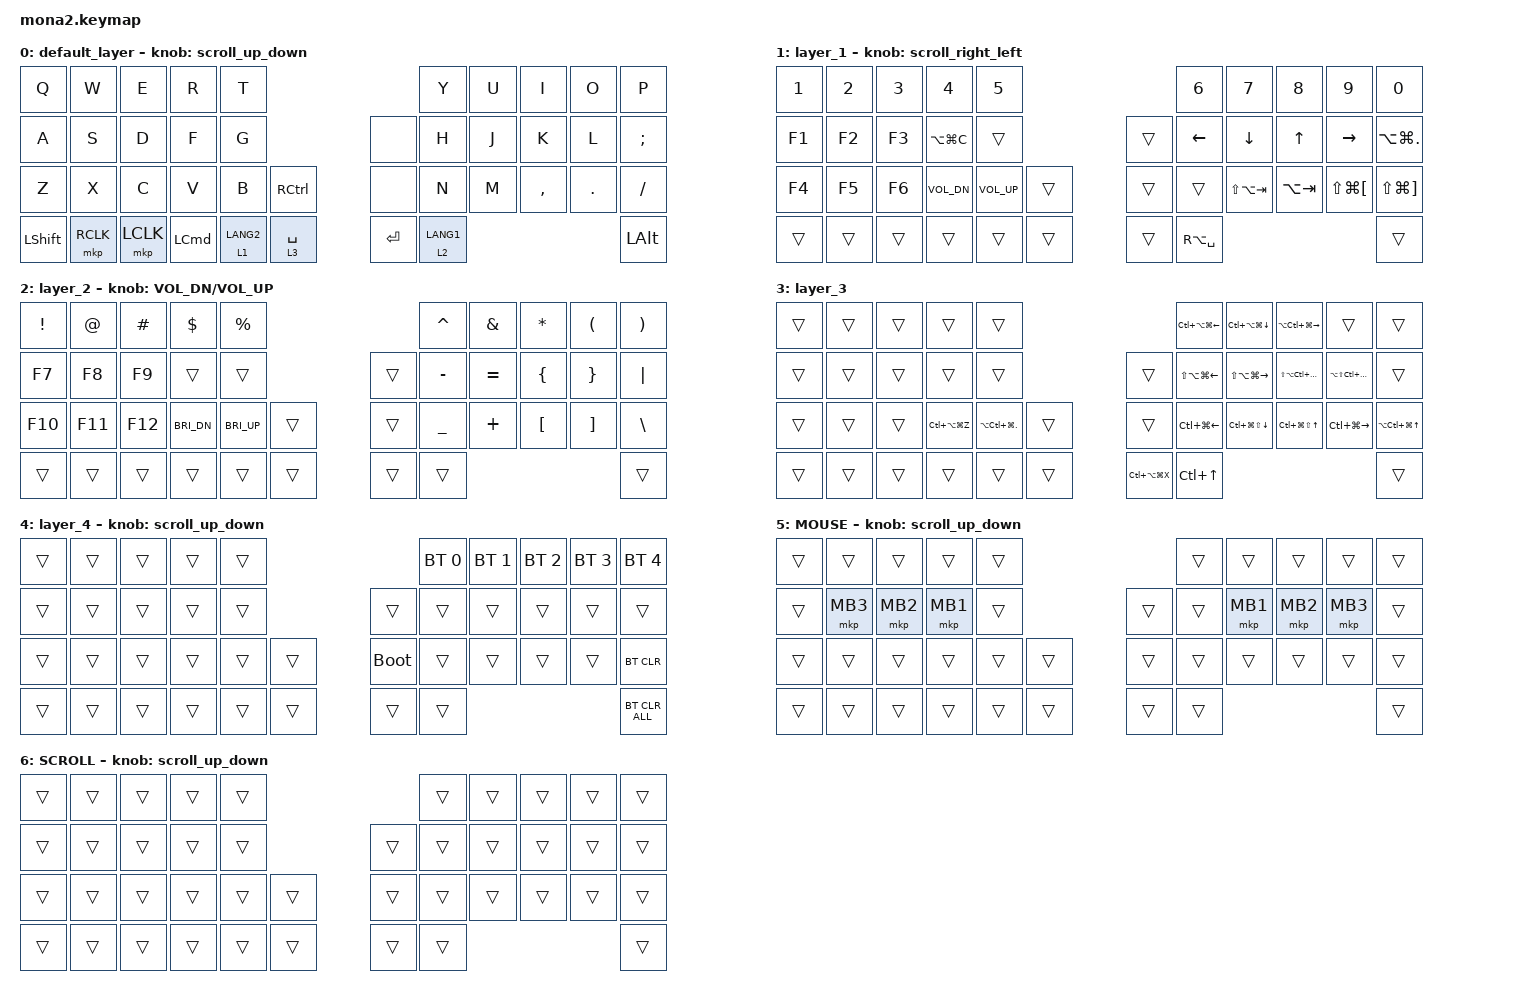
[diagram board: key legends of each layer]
#include <input/processors.dtsi>
#include <dt-bindings/zmk/input_transform.h>
#include <zephyr/dt-bindings/input/input-event-codes.h>
#include <behaviors.dtsi>
#include <dt-bindings/zmk/bt.h>
#include <dt-bindings/zmk/keys.h>
#include <dt-bindings/zmk/pointing.h>

#define ZMK_POINTING_DEFAULT_SCRL_VAL 100
#define MOUSE 5
#define SCROLL 6

&mt {
    flavor = "balanced";
    quick-tap-ms = <0>;
};

&lt {
    quick-tap-ms = <300>;
    flavor = "balanced";
};

/ {
    combos {
        compatible = "zmk,combos";

        singleQu {
            bindings = <&kp SINGLE_QUOTE>;
            key-positions = <19 20>;
            timeout-ms = <800>;
            layers = <0>;
        };

        backquat {
            bindings = <&kp GRAVE>;
            key-positions = <19 20>;
            timeout-ms = <800>;
            layers = <2>;
        };

        tidle {
            bindings = <&kp TILDE>;
            key-positions = <31 32>;
            timeout-ms = <800>;
            layers = <2>;
        };

        windowmax {
            bindings = <&kp LC(LG(UP_ARROW))>;
            key-positions = <31 32>;
            timeout-ms = <800>;
            layers = <3>;
        };

        backdel {
            bindings = <&kp BACKSPACE>;
            key-positions = <8 9>;
            timeout-ms = <800>;
            layers = <0 1 3>;
        };

        del {
            bindings = <&kp DELETE>;
            key-positions = <8 9>;
            timeout-ms = <800>;
            layers = <2>;
        };

        tab {
            bindings = <&kp TAB>;
            key-positions = <0 1>;
            timeout-ms = <800>;
            layers = <0 3 2>;
        };

        esc {
            bindings = <&kp ESCAPE>;
            key-positions = <0 1>;
            timeout-ms = <800>;
            layers = <1>;
        };

        a+l+left {
            bindings = <&kp LA(LG(LEFT_ARROW))>;
            key-positions = <19 20>;
            timeout-ms = <500>;
            require-prior-idle-ms = <500>;
            layers = <1>;
        };
    };

    macros {
        to_layer_0: to_layer_0 {
            compatible = "zmk,behavior-macro-one-param";
            #binding-cells = <1>;
            bindings = <&to 0 &macro_param_1to1 &kp MACRO_PLACEHOLDER>;
            label = "TO_LAYER_0";
        };
    };

    behaviors {
        lt_to_layer_0: lt_to_layer_0 {
            compatible = "zmk,behavior-hold-tap";
            label = "LAYER_TAP_TO_0";
            bindings = <&mo>, <&to_layer_0>;

            #binding-cells = <2>;
            tapping-term-ms = <200>;
        };

        scroll_up_down: mouse_wheel_up_down {
            compatible = "zmk,behavior-sensor-rotate";
            #sensor-binding-cells = <0>;
            bindings = <&msc SCRL_DOWN>, <&msc SCRL_UP>;

            tap-ms = <20>;
        };

        scroll_right_left: mouse_wheel_right_left {
            compatible = "zmk,behavior-sensor-rotate";
            #sensor-binding-cells = <0>;
            bindings = <&msc SCRL_LEFT>, <&msc SCRL_RIGHT>;

            tap-ms = <20>;
        };
    };

    keymap {
        compatible = "zmk,keymap";

        default_layer {
            bindings = <
&kp Q           &kp W      &kp E      &kp R     &kp T                                  &kp Y        &kp U  &kp I      &kp O    &kp P
&kp A           &kp S      &kp D      &kp F     &kp G                       &none      &kp H        &kp J  &kp K      &kp L    &kp SEMICOLON
&kp Z           &kp X      &kp C      &kp V     &kp B        &kp RCTRL      &none      &kp N        &kp M  &kp COMMA  &kp DOT  &kp SLASH
&kp LEFT_SHIFT  &mkp RCLK  &mkp LCLK  &kp LCMD  &lt 1 LANG2  &lt 3 SPACE    &kp ENTER  &lt 2 LANG1                             &kp LEFT_ALT
            >;

            sensor-bindings = <&scroll_up_down>;
        };

        layer_1 {
            bindings = <
&kp NUMBER_1  &kp NUMBER_2  &kp NUMBER_3  &kp NUMBER_4   &kp NUMBER_5                       &kp NUMBER_6    &kp NUMBER_7     &kp NUMBER_8  &kp NUMBER_9              &kp NUMBER_0
&kp F1        &kp F2        &kp F3        &kp LA(LG(C))  &trans                     &trans  &kp LEFT_ARROW  &kp DOWN_ARROW   &kp UP_ARROW  &kp RIGHT_ARROW           &kp LA(LG(PERIOD))
&kp F4        &kp F5        &kp F6        &kp C_VOL_DN   &kp C_VOLUME_UP  &trans    &trans  &trans          &kp LS(LA(TAB))  &kp LA(TAB)   &kp LS(LG(LEFT_BRACKET))  &kp LS(LG(RIGHT_BRACKET))
&trans        &trans        &trans        &trans         &trans           &trans    &trans  &kp RA(SPACE)                                                            &trans
            >;

            sensor-bindings = <&scroll_right_left>;
        };

        layer_2 {
            bindings = <
&kp EXCLAMATION  &kp AT_SIGN  &kp POUND  &kp DOLLAR    &kp PERCENT                     &kp CARET       &kp AMPERSAND  &kp ASTERISK      &kp LPAR           &kp RPAR
&kp F7           &kp F8       &kp F9     &trans        &trans                  &trans  &kp MINUS       &kp EQUAL      &kp LEFT_BRACE    &kp RIGHT_BRACE    &kp PIPE
&kp F10          &kp F11      &kp F12    &kp C_BRI_DN  &kp C_BRI_UP  &trans    &trans  &kp UNDERSCORE  &kp PLUS       &kp LEFT_BRACKET  &kp RIGHT_BRACKET  &kp BACKSLASH
&trans           &trans       &trans     &trans        &trans        &trans    &trans  &trans                                                              &trans
            >;

            sensor-bindings = <&inc_dec_kp C_VOL_DN C_VOL_UP>;
        };

        layer_3 {
            bindings = <
&trans  &trans  &trans  &trans             &trans                                               &kp LC(LA(LG(LEFT_ARROW)))  &kp LC(LA(LG(DOWN_ARROW)))   &kp LA(LC(LG(RIGHT_ARROW)))     &trans                           &trans
&trans  &trans  &trans  &trans             &trans                            &trans             &kp LS(LA(LG(LEFT_ARROW)))  &kp LS(LA(LG(RIGHT_ARROW)))  &kp LS(LA(LC(LG(LEFT_ARROW))))  &kp LA(LS(LC(LG(RIGHT_ARROW))))  &trans
&trans  &trans  &trans  &kp LC(LA(LG(Z)))  &kp LA(LC(LG(PERIOD)))  &trans    &trans             &kp LC(LG(LEFT_ARROW))      &kp LC(LG(LS(DOWN_ARROW)))   &kp LC(LG(LS(UP_ARROW)))        &kp LC(LG(RIGHT_ARROW))          &kp LA(LC(LG(UP_ARROW)))
&trans  &trans  &trans  &trans             &trans                  &trans    &kp LC(LA(LG(X)))  &kp LC(UP_ARROW)                                                                                                          &trans
            >;
        };

        layer_4 {
            bindings = <
&trans  &trans  &trans  &trans  &trans                         &bt BT_SEL 0  &bt BT_SEL 1  &bt BT_SEL 2  &bt BT_SEL 3  &bt BT_SEL 4
&trans  &trans  &trans  &trans  &trans            &trans       &trans        &trans        &trans        &trans        &trans
&trans  &trans  &trans  &trans  &trans  &trans    &bootloader  &trans        &trans        &trans        &trans        &bt BT_CLR
&trans  &trans  &trans  &trans  &trans  &trans    &trans       &trans                                                  &bt BT_CLR_ALL
            >;

            sensor-bindings = <&scroll_up_down>;
        };

        MOUSE {
            bindings = <
&trans  &trans    &trans    &trans    &trans                    &trans  &trans    &trans    &trans    &trans
&trans  &mkp MB3  &mkp MB2  &mkp MB1  &trans            &trans  &trans  &mkp MB1  &mkp MB2  &mkp MB3  &trans
&trans  &trans    &trans    &trans    &trans  &trans    &trans  &trans  &trans    &trans    &trans    &trans
&trans  &trans    &trans    &trans    &trans  &trans    &trans  &trans                                &trans
            >;

            sensor-bindings = <&scroll_up_down>;
        };

        SCROLL {
            bindings = <
&trans  &trans  &trans  &trans  &trans                    &trans  &trans  &trans  &trans  &trans
&trans  &trans  &trans  &trans  &trans            &trans  &trans  &trans  &trans  &trans  &trans
&trans  &trans  &trans  &trans  &trans  &trans    &trans  &trans  &trans  &trans  &trans  &trans
&trans  &trans  &trans  &trans  &trans  &trans    &trans  &trans                          &trans
            >;

            sensor-bindings = <&scroll_up_down>;
        };
    };
};
